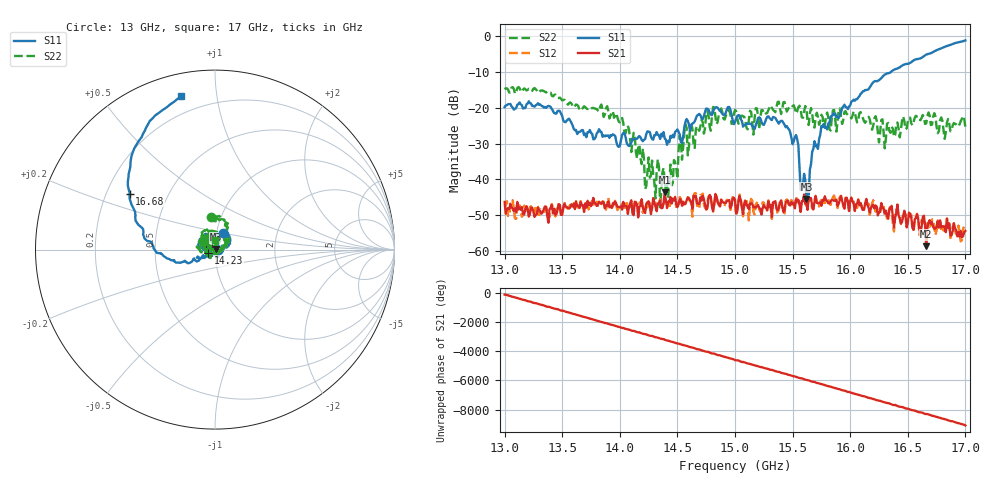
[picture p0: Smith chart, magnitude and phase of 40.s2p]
!Keysight Technologies,P9374A,MY57211807,A.19.30.04
!Date: Friday, May 01, 2026 14:14:27
!Correction: S11(C  2-Port  )
!S21(C  2-Port  )
!S12(C  2-Port  )
!S22(C  2-Port  )
!S2P File: Measurements: S11, S21, S12, S22:
# Hz S  RI  R 50
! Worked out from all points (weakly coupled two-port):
!   401 points, 13 GHz to 17 GHz, reference 50 ohm
!   highest |S21| = -43.66 dB at 14.39 GHz (marker M1); lowest = -58.7 dB at 16.66 GHz (marker M2)
!   lowest |S11| = -45.5 dB at 15.62 GHz (marker M3), VSWR 1.01, Z = 50.5 + j0.133 ohm
!   |S11| at or under -10 dB: start of sweep to 16.35 GHz
!   |S22| runs from -47.8 to -14.2 dB; largest |S21 - S12| = 0.0015
!   S11 on the Smith chart (normalised r, x): 13 GHz: 1.07, +0.20; 14.23 GHz: 0.92, -0.03; 16.68 GHz: 0.30, +0.27; 17 GHz: 0.11, +0.80
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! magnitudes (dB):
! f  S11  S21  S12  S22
! 13 GHz  -19.8  -46.3  -47.1  -14.8
! 13.39 GHz  -19.5  -48.4  -50.5  -15.7
! 13.67 GHz  -26.3  -47.3  -47.3  -20.3
! 13.95 GHz  -27.6  -47.0  -46.6  -22.8
! 14.18 GHz  -28.3  -47.4  -46.3  -34.2
! 14.23 GHz  -27.3  -46.8  -46.8  -41.8
! 14.34 GHz  -27.7  -46.6  -46.9  -36.6
! 14.39 GHz  -28.6  -43.7  -45.5  -40.8
! 14.44 GHz  -27.9  -45.0  -45.7  -35.9
! 14.56 GHz  -25.4  -47.0  -46.8  -27.0
! 14.84 GHz  -19.8  -45.0  -44.8  -24.6
! 15 GHz  -24.0  -45.7  -46.3  -20.6
! 15.43 GHz  -24.7  -48.7  -49.5  -18.4
! 15.53 GHz  -27.6  -45.6  -44.9  -21.6
! 15.58 GHz  -42.6  -46.1  -45.5  -22.6
! 15.62 GHz  -45.5  -46.5  -47.4  -20.1
! 15.67 GHz  -32.3  -47.5  -48.2  -21.5
! 15.85 GHz  -21.6  -45.8  -45.0  -20.8
! 16.34 GHz  -10.2  -48.6  -48.1  -26.5
! 16.66 GHz  -5.1  -58.7  -55.8  -24.4
! 16.68 GHz  -4.9  -52.1  -52.5  -21.3
! 17 GHz  -1.2  -54.4  -53.4  -25.5
